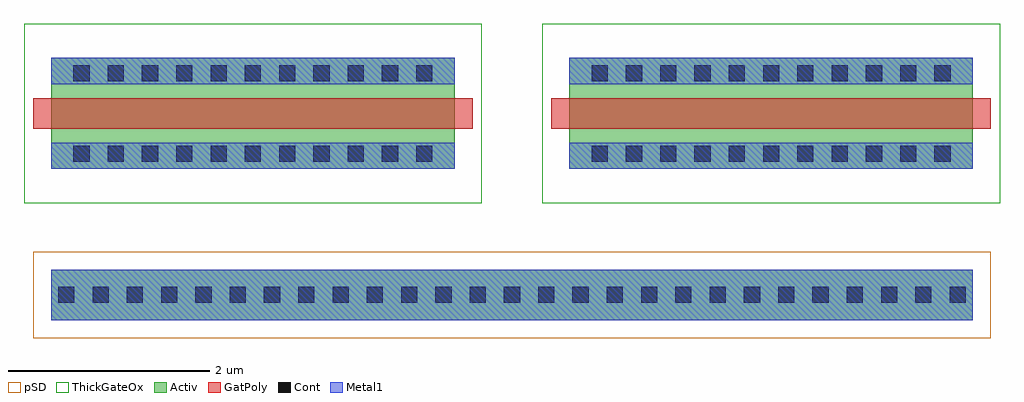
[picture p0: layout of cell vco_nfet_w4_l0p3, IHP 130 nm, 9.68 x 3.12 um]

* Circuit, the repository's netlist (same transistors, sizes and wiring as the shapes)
* extracted by klt extract --deck sg13cmos5l

* cell vco_nfet_w4_l0p3
* pin vsubs
.SUBCKT vco_nfet_w4_l0p3 vsubs
* device instance $1 r0 *1 3.3,3.01 nfet
X$1 \$3 \$1 \$4 vsubs sg13_hv_nmos L=0.3U W=4U AS=1.6P AD=1.6P PS=8.8U PD=8.8U
* device instance $2 r0 *1 9.26,3.01 nfet
X$2 \$5 \$2 \$6 vsubs sg13_hv_nmos L=0.3U W=4U AS=1.6P AD=1.6P PS=8.8U PD=8.8U
.ENDS vco_nfet_w4_l0p3

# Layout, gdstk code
import gdstk
lib = gdstk.Library(unit=1e-6, precision=1e-09)
def R(c, l, rs):  # rectangles x0, y0, x1, y1
    for r in rs: c.add(gdstk.rectangle(r[:2], r[2:], *l))
def A(c, l, x, y, w, h, nx, ny, dx, dy):  # array of equal rectangles
    R(c, l, [(x+i*dx, y+j*dy, x+i*dx+w, y+j*dy+h) for i in range(nx) for j in range(ny)])
Activ = (1, 0)
GatPoly = (5, 0)
Cont = (6, 0)
Metal1 = (8, 0)
pSD = (14, 0)
ThickGateOx = (44, 0)

vco_nfet_w4_l0p3 = lib.new_cell('vco_nfet_w4_l0p3')
R(vco_nfet_w4_l0p3, Activ, [(0.89,0.96,10.03,1.46), (0.89,2.46,4.89,3.56), (6.03,2.46,10.03,3.56)])
R(vco_nfet_w4_l0p3, GatPoly, [(0.71,2.86,5.07,3.16), (5.85,2.86,10.21,3.16)])
A(vco_nfet_w4_l0p3, Cont, 0.96, 1.13, 0.16, 0.16, 27, 1, 0.34, 0)
A(vco_nfet_w4_l0p3, Cont, 1.11, 2.53, 0.16, 0.16, 11, 2, 0.34, 0.8)
A(vco_nfet_w4_l0p3, Cont, 6.25, 2.53, 0.16, 0.16, 11, 2, 0.34, 0.8)
R(vco_nfet_w4_l0p3, Metal1, [(0.89,0.96,10.03,1.46), (0.89,2.46,4.89,2.72), (6.03,2.46,10.03,2.72), (0.89,3.3,4.89,3.56), (6.03,3.3,10.03,3.56)])
R(vco_nfet_w4_l0p3, pSD, [(0.71,0.78,10.21,1.64)])
R(vco_nfet_w4_l0p3, ThickGateOx, [(0.62,2.12,5.16,3.9), (5.76,2.12,10.3,3.9)])

lib.write_gds('vco_nfet_w4_l0p3.gds')
